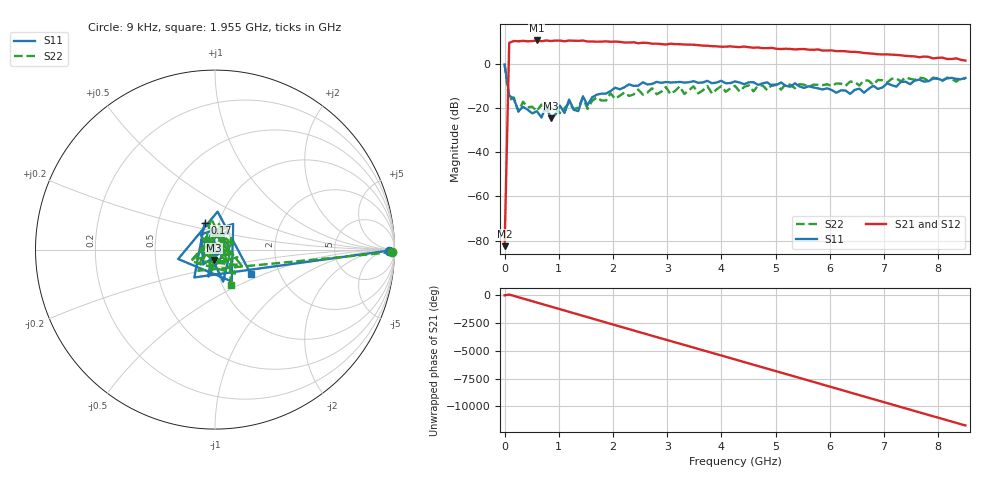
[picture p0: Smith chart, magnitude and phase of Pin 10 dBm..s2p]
! RsaToolbox (C) 2013 Rohde & Schwarz America
! Number of points: 101
! Number of ports: 2
! Balanced ports?: 0
# Hz S RI R 50
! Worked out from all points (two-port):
!   101 points, 9 kHz to 8.5 GHz, reference 50 ohm
!   highest |S21| = 10.61 dB at 595 MHz (marker M1); lowest = -82.6 dB at 9 kHz (marker M2)
!   |S21| within 3 dB of the highest: 83.22 MHz to 4.32 GHz (4.237 GHz wide, 192 % of centre); 4.343 GHz to 4.486 GHz (142.9 MHz wide, 3.24 % of centre)
!   lowest |S11| = -24.7 dB at 850 MHz (marker M3), VSWR 1.12, Z = 49.1 - j5.73 ohm
!   |S11| at or under -10 dB: 59.08 MHz to 2.249 GHz (2.19 GHz wide, 190 % of centre); 5.428 GHz to 6.794 GHz (1.366 GHz wide, 22.4 % of centre); 6.806 GHz to 7.002 GHz (196.2 MHz wide, 2.84 % of centre) (the widest 3 of 5)
!   |S22| runs from -22.3 to -0.1 dB; largest |S21 - S12| = 0
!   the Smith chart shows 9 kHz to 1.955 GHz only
!   S11 on the Smith chart (normalised r, x): 9 kHz: 67, -13; 170 MHz: 0.85, +0.26; 1.955 GHz: 1.43, -0.42
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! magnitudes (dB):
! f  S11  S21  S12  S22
! 9 kHz  -0.3  -82.6  -82.6  -0.1
! 85.01 MHz  -14.3  9.5  9.5  -16.5
! 170 MHz  -15.9  10.4  10.4  -15.2
! 255 MHz  -21.4  10.2  10.2  -21.7
! 340 MHz  -19.5  10.4  10.4  -17.2
! 595 MHz  -21.4  10.6  10.6  -21.4
! 680 MHz  -24.3  10.3  10.3  -18.4
! 765 MHz  -18.9  10.6  10.6  -21.3
! 850 MHz  -24.7  10.3  10.3  -20.2
! 1.02 GHz  -18.9  10.6  10.6  -22.3
! 1.105 GHz  -22.2  10.2  10.2  -20.1
! 1.19 GHz  -16.2  10.6  10.6  -17.6
! 1.36 GHz  -21.4  10.4  10.4  -19.8
! 1.445 GHz  -14.7  10.6  10.6  -15.3
! 1.53 GHz  -18.7  10.1  10.1  -20.4
! 1.955 GHz  -12.3  10.0  10.0  -13.4
! 2.89 GHz  -8.6  9.0  9.0  -12.6
! 4.25 GHz  -7.9  7.7  7.7  -9.9
! 5.695 GHz  -10.7  6.4  6.4  -9.4
! 6.375 GHz  -13.6  5.5  5.5  -8.0
! 7.14 GHz  -9.6  4.2  4.2  -6.7
! 8.5 GHz  -6.4  1.5  1.5  -6.7
